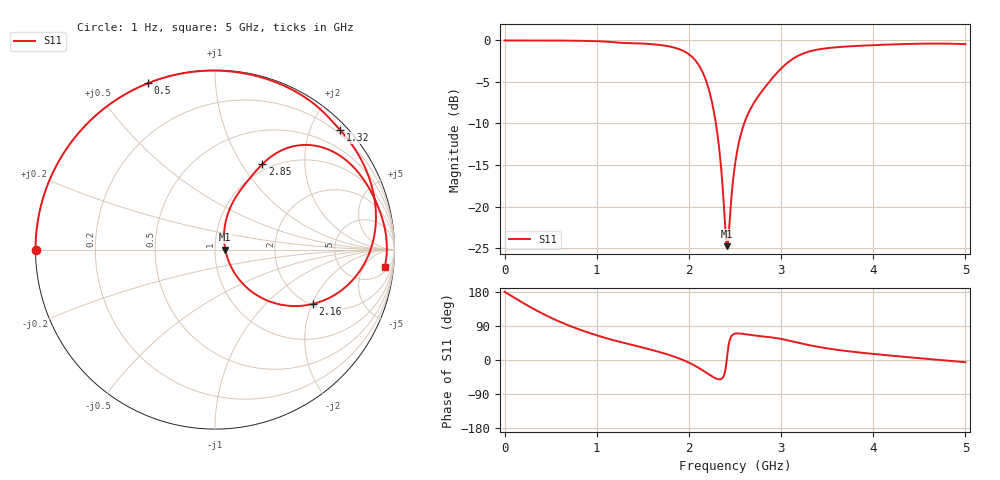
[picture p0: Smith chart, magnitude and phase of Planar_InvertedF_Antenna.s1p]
! Touchstone file exported from HFSS 2024.2.0
!  File:  C:/00_Asenjo/00_Project/Ketupa/simulation/Ansys_HFSS/HFSS_Projects/Planar_InvertedF_Antenna.aedt
!  Generated:  06:28:45 PM Jun 27, 2025
!  Design:  InvertedF_Antenna_wifi_2.4G
!  Project:  Planar_InvertedF_Antenna
!  Setup:  Setup1
!  Solution:  Sweep
! Variables:
!  Airbox_dist = 4.1638cm
!  Antenna_Offset = 0.45cm
!  Antenna_Trace_Width = 0.15cm
!  Feed_Length = 0.01cm
!  Feed_Offset = -0.5cm
!  Feed_Width = 0.15cm
!  Length1 = 2.49cm
!  Length2 = 0.8cm
!  VirtualObject_dist = 1.2491cm
!  subH = 62mil
!  subX = 5cm
!  subY = 10cm
# GHz S MA R 50.000000
! Terminal data exported
! Port[1] = microstrip_feed_T1
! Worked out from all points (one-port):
!   651 points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, 1 Hz to 5 GHz, reference 50 ohm
!   lowest |S11| = -24.8 dB at 2.41 GHz (marker M1), VSWR 1.12, Z = 56.1 - j0.0861 ohm
!   |S11| at or under -10 dB: 2.293 GHz to 2.6 GHz (306.9 MHz wide, 12.5 % of centre)
!   S11 on the Smith chart (normalised r, x): 1 Hz: 0.00, +0.00; 500 MHz: 0.00, +0.68; 1.32 GHz: 0.13, +2.49; 2.16 GHz: 2.05, -2.03; 2.85 GHz: 0.92, +1.24; 5 GHz: 8, -16
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1e-09  1 180.0
! Gamma 50 0
! Port Impedance 50 0
0.13  1 160.8
0.27  1 140.9
0.38  1 126.4
0.5  0.9994 111.9
0.63  0.9983 97.7
0.95  0.9914 69.0
1.26  0.9678 47.3
1.32  0.9644 43.7
1.64  0.9453 23.8
1.88  0.8924 5.4
2.03  0.8002 -10.6
2.16  0.6235 -29.1
2.24  0.4503 -41.7
2.3  0.2972 -49.4
2.34  0.1939 -50.9
2.39  0.08136 -32.4
2.41  0.05769 -0.8
2.44  0.07919 50.1
2.51  0.195 70.0
2.56  0.2674 69.7
2.63  0.3496 67.2
2.85  0.5441 61.0
3.13  0.7765 48.7
3.41  0.884 34.3
3.76  0.923 22.2
4.38  0.9529 7.4
5  0.9506 -5.8
